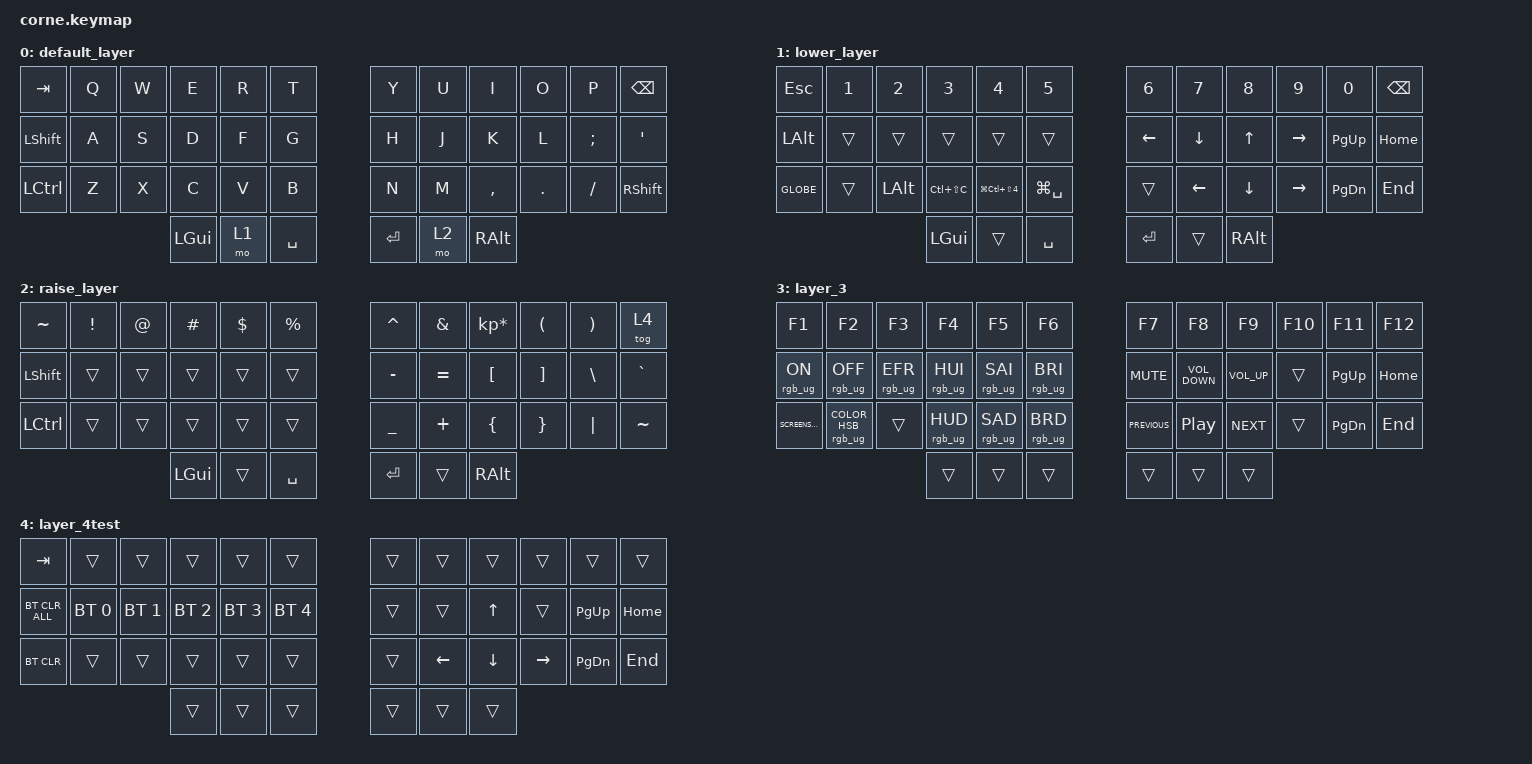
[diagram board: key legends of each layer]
/*
 * Copyright (c) 2020 The ZMK Contributors
 *
 * SPDX-License-Identifier: MIT
 */

#include <behaviors.dtsi>
#include <dt-bindings/zmk/bt.h>
#include <dt-bindings/zmk/keys.h>
#include <dt-bindings/zmk/rgb.h>

&led_strip { chain-length = <28>; };

/ {
    keymap {
        compatible = "zmk,keymap";

        default_layer {
            // -----------------------------------------------------------------------------------------
            // |  TAB |  Q  |  W  |  E  |  R  |  T  |   |  Y  |  U   |  I  |  O  |  P  | BKSP |
            // | CTRL |  A  |  S  |  D  |  F  |  G  |   |  H  |  J   |  K  |  L  |  ;  |  '   |
            // | SHFT |  Z  |  X  |  C  |  V  |  B  |   |  N  |  M   |  ,  |  .  |  /  | ESC  |
            //                    | GUI | LWR | SPC |   | ENT | RSE  | ALT |

            bindings = <
&kp TAB     &kp Q  &kp W  &kp E     &kp R  &kp T        &kp Y    &kp U  &kp I      &kp O    &kp P     &kp BSPC
&kp LSHIFT  &kp A  &kp S  &kp D     &kp F  &kp G        &kp H    &kp J  &kp K      &kp L    &kp SEMI  &kp SQT
&kp LCTRL   &kp Z  &kp X  &kp C     &kp V  &kp B        &kp N    &kp M  &kp COMMA  &kp DOT  &kp FSLH  &kp RSHIFT
                          &kp LGUI  &mo 1  &kp SPACE    &kp RET  &mo 2  &kp RALT
            >;
        };

        lower_layer {
            // -----------------------------------------------------------------------------------------
            // |  TAB |  1  |  2  |  3  |  4  |  5  |   |  6  |  7  |  8  |  9  |  0  | BKSP |
            // | BTCLR| BT1 | BT2 | BT3 | BT4 | BT5 |   | LFT | DWN |  UP | RGT |     |      |
            // | SHFT |     |     |     |     |     |   |     |     |     |     |     |      |
            //                    | GUI |     | SPC |   | ENT |     | ALT |

            bindings = <
&kp ESC       &kp N1  &kp N2        &kp N3         &kp N4                    &kp N5           &kp N6    &kp N7          &kp N8    &kp N9           &kp N0         &kp BSPC
&kp LEFT_ALT  &trans  &trans        &trans         &trans                    &trans           &kp LEFT  &kp DOWN        &kp UP    &kp RIGHT        &kp PAGE_UP    &kp HOME
&kp GLOBE     &trans  &kp LEFT_ALT  &kp LC(LS(C))  &kp LG(LC(LS(NUMBER_4)))  &kp LG(SPACE)    &trans    &kp LEFT_ARROW  &kp DOWN  &kp RIGHT_ARROW  &kp PAGE_DOWN  &kp END
                                    &kp LGUI       &trans                    &kp SPACE        &kp RET   &trans          &kp RALT
            >;
        };

        raise_layer {
            // -----------------------------------------------------------------------------------------
            // |  TAB |  !  |  @  |  #  |  $  |  %  |   |  ^  |  &  |  *  |  (  |  )  | BKSP |
            // | CTRL |     |     |     |     |     |   |  -  |  =  |  [  |  ]  |  \  |  `   |
            // | SHFT |     |     |     |     |     |   |  _  |  +  |  {  |  }  | "|" |  ~   |
            //                    | GUI |     | SPC |   | ENT |     | ALT |

            bindings = <
&kp TILDE  &kp EXCL  &kp AT  &kp HASH  &kp DLLR  &kp PRCNT    &kp CARET  &kp AMPS   &kp KP_MULTIPLY  &kp LPAR  &kp RPAR  &tog 4
&kp LSHFT  &trans    &trans  &trans    &trans    &trans       &kp MINUS  &kp EQUAL  &kp LBKT         &kp RBKT  &kp BSLH  &kp GRAVE
&kp LCTRL  &trans    &trans  &trans    &trans    &trans       &kp UNDER  &kp PLUS   &kp LBRC         &kp RBRC  &kp PIPE  &kp TILDE
                             &kp LGUI  &trans    &kp SPACE    &kp RET    &trans     &kp RALT
            >;
        };

        layer_3 {
            bindings = <
&kp F1             &kp F2                           &kp F3           &kp F4           &kp F5           &kp F6             &kp F7          &kp F8             &kp F9           &kp F10  &kp F11        &kp F12
&rgb_ug RGB_ON     &rgb_ug RGB_OFF                  &rgb_ug RGB_EFR  &rgb_ug RGB_HUI  &rgb_ug RGB_SAI  &rgb_ug RGB_BRI    &kp C_MUTE      &kp C_VOLUME_DOWN  &kp C_VOLUME_UP  &trans   &kp PAGE_UP    &kp HOME
&kp K_SCREENSAVER  &rgb_ug RGB_COLOR_HSB(0,100,50)  &trans           &rgb_ug RGB_HUD  &rgb_ug RGB_SAD  &rgb_ug RGB_BRD    &kp C_PREVIOUS  &kp C_PLAY_PAUSE   &kp C_NEXT       &trans   &kp PAGE_DOWN  &kp END
                                                                     &trans           &trans           &trans             &trans          &trans             &trans
            >;
        };

        layer_4test {
            bindings = <
&kp TAB         &trans        &trans        &trans        &trans        &trans          &trans  &trans          &trans          &trans           &trans         &trans
&bt BT_CLR_ALL  &bt BT_SEL 0  &bt BT_SEL 1  &bt BT_SEL 2  &bt BT_SEL 3  &bt BT_SEL 4    &trans  &trans          &kp UP_ARROW    &trans           &kp PAGE_UP    &kp HOME
&bt BT_CLR      &trans        &trans        &trans        &trans        &trans          &trans  &kp LEFT_ARROW  &kp DOWN_ARROW  &kp RIGHT_ARROW  &kp PAGE_DOWN  &kp END
                                            &trans        &trans        &trans          &trans  &trans          &trans
            >;
        };
    };

    conditional_layers {
        compatible = "zmk,conditional-layers";

        both_held {
            if-layers = <1 2>;
            then-layer = <3>;
        };
    };
};
